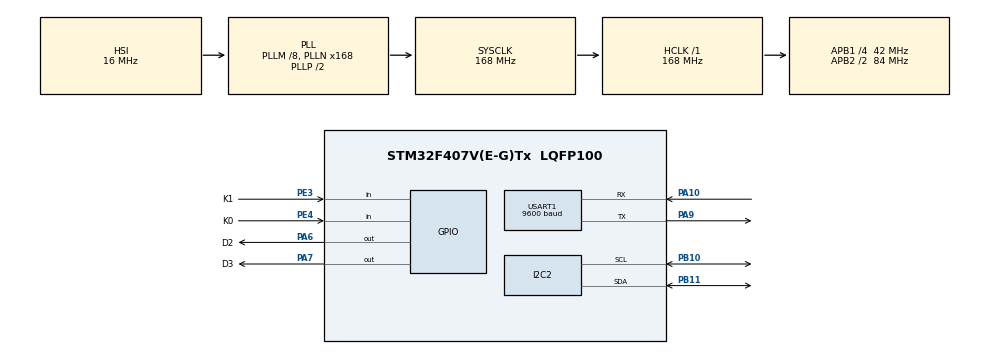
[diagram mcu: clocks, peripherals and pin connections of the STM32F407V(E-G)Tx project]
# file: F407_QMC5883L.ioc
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FREERTOS.Tasks01=defaultTask,0,128,StartDefaultTask,Default,NULL,Dynamic,NULL,NULL
Mcu.Family=STM32F4
Mcu.Name=STM32F407V(E-G)Tx
Mcu.Package=LQFP100
NVIC.PriorityGroup=NVIC_PRIORITYGROUP_4
PA10.Mode=Asynchronous
PA10.Signal=USART1_RX
PA13.Mode=Serial_Wire
PA13.Signal=SYS_JTMS-SWDIO
PA14.Mode=Serial_Wire
PA14.Signal=SYS_JTCK-SWCLK
PA6.GPIO_Label=D2
PA6.GPIO_Speed=GPIO_SPEED_FREQ_HIGH
PA6.PinState=GPIO_PIN_SET
PA6.Signal=GPIO_Output
PA7.GPIO_Label=D3
PA7.GPIO_Speed=GPIO_SPEED_FREQ_HIGH
PA7.PinState=GPIO_PIN_SET
PA7.Signal=GPIO_Output
PA9.Mode=Asynchronous
PA9.Signal=USART1_TX
PB10.Mode=I2C
PB10.Signal=I2C2_SCL
PB11.Mode=I2C
PB11.Signal=I2C2_SDA
PE3.GPIO_Label=K1
PE3.GPIO_PuPd=GPIO_PULLUP
PE3.Signal=GPIO_Input
PE4.GPIO_Label=K0
PE4.GPIO_PuPd=GPIO_PULLUP
PE4.Signal=GPIO_Input
ProjectManager.HeapSize=0x200
ProjectManager.StackSize=0x400
ProjectManager.TargetToolchain=STM32CubeIDE
RCC.48MHZClocksFreq_Value=84000000
RCC.AHBFreq_Value=168000000
RCC.APB1CLKDivider=RCC_HCLK_DIV4
RCC.APB1Freq_Value=42000000
RCC.APB1TimFreq_Value=84000000
RCC.APB2CLKDivider=RCC_HCLK_DIV2
RCC.APB2Freq_Value=84000000
RCC.APB2TimFreq_Value=168000000
RCC.CortexFreq_Value=168000000
RCC.HCLKFreq_Value=168000000
RCC.HSE_VALUE=25000000
RCC.HSI_VALUE=16000000
RCC.LSE_VALUE=32768
RCC.PLLM=8
RCC.PLLN=168
RCC.SYSCLKFreq_VALUE=168000000
RCC.SYSCLKSource=RCC_SYSCLKSOURCE_PLLCLK
RCC.VCOOutputFreq_Value=336000000
USART1.BaudRate=9600
USART1.VirtualMode=VM_ASYNC
VP_FREERTOS_VS_CMSIS_V1.Mode=CMSIS_V1
board=custom

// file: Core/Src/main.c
/* USER CODE BEGIN Header */
/**
  ******************************************************************************
  * @file           : main.c
  * @brief          : Main program body
  ******************************************************************************
  * @attention
  *
  * Copyright (c) 2023 STMicroelectronics.
  * All rights reserved.
  *
  * This software is licensed under terms that can be found in the LICENSE file
  * in the root directory of this software component.
  * If no LICENSE file comes with this software, it is provided AS-IS.
  *
  ******************************************************************************
  */
/* USER CODE END Header */
#include "main.h"
#include "cmsis_os.h"

I2C_HandleTypeDef hi2c2;

UART_HandleTypeDef huart1;

osThreadId defaultTaskHandle;

void SystemClock_Config(void);
static void MX_GPIO_Init(void);
static void MX_USART1_UART_Init(void);
static void MX_I2C2_Init(void);
void StartDefaultTask(void const * argument);

int main(void)
{

  /* MCU Configuration--------------------------------------------------------*/

  /* Reset of all peripherals, Initializes the Flash interface and the Systick. */
  HAL_Init();

  /* Configure the system clock */
  SystemClock_Config();

  /* Initialize all configured peripherals */
  MX_GPIO_Init();
  MX_USART1_UART_Init();
  MX_I2C2_Init();

  /* Create the thread(s) */
  /* definition and creation of defaultTask */
  osThreadDef(defaultTask, StartDefaultTask, osPriorityNormal, 0, 256);
  defaultTaskHandle = osThreadCreate(osThread(defaultTask), NULL);

  /* Start scheduler */
  osKernelStart();

  /* We should never get here as control is now taken by the scheduler */
  /* Infinite loop */
  while (1)
  {

  }
}

void SystemClock_Config(void)
{
  RCC_OscInitTypeDef RCC_OscInitStruct = {0};
  RCC_ClkInitTypeDef RCC_ClkInitStruct = {0};

  /** Configure the main internal regulator output voltage
  */
  __HAL_RCC_PWR_CLK_ENABLE();
  __HAL_PWR_VOLTAGESCALING_CONFIG(PWR_REGULATOR_VOLTAGE_SCALE1);

  /** Initializes the RCC Oscillators according to the specified parameters
  * in the RCC_OscInitTypeDef structure.
  */
  RCC_OscInitStruct.OscillatorType = RCC_OSCILLATORTYPE_HSI;
  RCC_OscInitStruct.HSIState = RCC_HSI_ON;
  RCC_OscInitStruct.HSICalibrationValue = RCC_HSICALIBRATION_DEFAULT;
  RCC_OscInitStruct.PLL.PLLState = RCC_PLL_ON;
  RCC_OscInitStruct.PLL.PLLSource = RCC_PLLSOURCE_HSI;
  RCC_OscInitStruct.PLL.PLLM = 8;
  RCC_OscInitStruct.PLL.PLLN = 168;
  RCC_OscInitStruct.PLL.PLLP = RCC_PLLP_DIV2;
  RCC_OscInitStruct.PLL.PLLQ = 4;
  if (HAL_RCC_OscConfig(&RCC_OscInitStruct) != HAL_OK)
  {
    Error_Handler();
  }

  /** Initializes the CPU, AHB and APB buses clocks
  */
  RCC_ClkInitStruct.ClockType = RCC_CLOCKTYPE_HCLK|RCC_CLOCKTYPE_SYSCLK
                              |RCC_CLOCKTYPE_PCLK1|RCC_CLOCKTYPE_PCLK2;
  RCC_ClkInitStruct.SYSCLKSource = RCC_SYSCLKSOURCE_PLLCLK;
  RCC_ClkInitStruct.AHBCLKDivider = RCC_SYSCLK_DIV1;
  RCC_ClkInitStruct.APB1CLKDivider = RCC_HCLK_DIV4;
  RCC_ClkInitStruct.APB2CLKDivider = RCC_HCLK_DIV2;

  if (HAL_RCC_ClockConfig(&RCC_ClkInitStruct, FLASH_LATENCY_5) != HAL_OK)
  {
    Error_Handler();
  }
}

static void MX_I2C2_Init(void)
{

  hi2c2.Instance = I2C2;
  hi2c2.Init.ClockSpeed = 100000;
  hi2c2.Init.DutyCycle = I2C_DUTYCYCLE_2;
  hi2c2.Init.OwnAddress1 = 0;
  hi2c2.Init.AddressingMode = I2C_ADDRESSINGMODE_7BIT;
  hi2c2.Init.DualAddressMode = I2C_DUALADDRESS_DISABLE;
  hi2c2.Init.OwnAddress2 = 0;
  hi2c2.Init.GeneralCallMode = I2C_GENERALCALL_DISABLE;
  hi2c2.Init.NoStretchMode = I2C_NOSTRETCH_DISABLE;
  if (HAL_I2C_Init(&hi2c2) != HAL_OK)
  {
    Error_Handler();
  }

}

static void MX_USART1_UART_Init(void)
{

  huart1.Instance = USART1;
  huart1.Init.BaudRate = 9600;
  huart1.Init.WordLength = UART_WORDLENGTH_8B;
  huart1.Init.StopBits = UART_STOPBITS_1;
  huart1.Init.Parity = UART_PARITY_NONE;
  huart1.Init.Mode = UART_MODE_TX_RX;
  huart1.Init.HwFlowCtl = UART_HWCONTROL_NONE;
  huart1.Init.OverSampling = UART_OVERSAMPLING_16;
  if (HAL_UART_Init(&huart1) != HAL_OK)
  {
    Error_Handler();
  }

}

static void MX_GPIO_Init(void)
{
  GPIO_InitTypeDef GPIO_InitStruct = {0};

  /* GPIO Ports Clock Enable */
  __HAL_RCC_GPIOE_CLK_ENABLE();
  __HAL_RCC_GPIOA_CLK_ENABLE();
  __HAL_RCC_GPIOB_CLK_ENABLE();

  /*Configure GPIO pin Output Level */
  HAL_GPIO_WritePin(GPIOA, D2_Pin|D3_Pin, GPIO_PIN_SET);

  /*Configure GPIO pins : K1_Pin K0_Pin */
  GPIO_InitStruct.Pin = K1_Pin|K0_Pin;
  GPIO_InitStruct.Mode = GPIO_MODE_INPUT;
  GPIO_InitStruct.Pull = GPIO_PULLUP;
  HAL_GPIO_Init(GPIOE, &GPIO_InitStruct);

  /*Configure GPIO pins : D2_Pin D3_Pin */
  GPIO_InitStruct.Pin = D2_Pin|D3_Pin;
  GPIO_InitStruct.Mode = GPIO_MODE_OUTPUT_PP;
  GPIO_InitStruct.Pull = GPIO_NOPULL;
  GPIO_InitStruct.Speed = GPIO_SPEED_FREQ_HIGH;
  HAL_GPIO_Init(GPIOA, &GPIO_InitStruct);

}

/* USER CODE BEGIN 4 */
QMC_t module;
float azimuth = 0;
/* USER CODE END 4 */

void StartDefaultTask(void const * argument)
{
  /* USER CODE BEGIN 5 */
//	char message[24];

	uint8_t init = 0;
	init = QMC_init(&module, &hi2c2, 200);
	char message[20];

	for(;;)
	{
		if(HAL_GPIO_ReadPin(GPIOE, GPIO_PIN_3) == 0){
			HAL_GPIO_WritePin(GPIOA, GPIO_PIN_6, GPIO_PIN_RESET);
			QMC_Calibrate(&module);
		}else{
			HAL_GPIO_WritePin(GPIOA, GPIO_PIN_6, GPIO_PIN_SET);
			QMC_read(&module);
			azimuth = atan2f(module.X,module.Y)*180.00/M_PI;
			azimuth += (azimuth < 0) ? 360 : 0;
			uint8_t size = sprintf(message,"%.2f\n",azimuth);
			HAL_UART_Transmit(&huart1, message, size, HAL_MAX_DELAY);
		}
		osDelay(50);
  }
  /* USER CODE END 5 */
}

void Error_Handler(void)
{
  __disable_irq();
  while (1)
  {
  }
}
